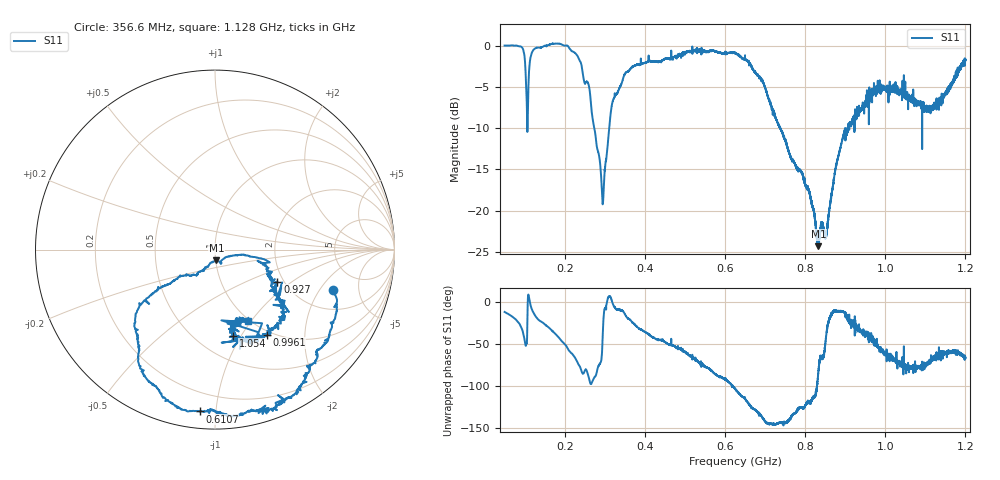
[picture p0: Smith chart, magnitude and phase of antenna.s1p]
! Calibrated high-resolution NanoVNA antenna measurement
# Hz S RI R 50
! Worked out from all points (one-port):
!   40001 points, 50 MHz to 1.2 GHz, reference 50 ohm
!   lowest |S11| = -24.3 dB at 833 MHz (marker M1), VSWR 1.13, Z = 50.4 - j6.1 ohm
!   |S11| at or under -10 dB: 273.7 MHz to 311.1 MHz (37.41 MHz wide, 12.8 % of centre); 738 MHz to 899.9 MHz (161.9 MHz wide, 19.8 % of centre); 899.9613 MHz to 904.2629 MHz (4.302 MHz wide, 0.477 % of centre)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
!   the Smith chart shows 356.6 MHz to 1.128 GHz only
!   S11 on the Smith chart (normalised r, x): 356.6 MHz: 3.06, -2.69; 610.7 MHz: 0.09, -0.91; 927 MHz: 1.85, -0.78; 996.1 MHz: 0.94, -1.30; 1.054 GHz: 0.73, -0.93; 1.128 GHz: 0.99, -0.97
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5e7  0.9822 -0.2053
8.912875e7  0.8817 -0.4571
9.8645e7  0.6708 -0.5978
1.0451e8  0.3468 -0.3981
1.121288e8  0.7684 0.023
1.231688e8  0.9234 -0.2283
1.9375e8  0.6917 -0.7424
2.363575e8  0.2057 -0.7941
2.65625e8  -0.0568 -0.4366
2.94605e8  0.0794 -0.0753
3.17835e8  0.4399 0.00804
3.375e8  0.5536 -0.0936
3.5659e8  0.6575 -0.2268
4.8125e8  0.5065 -0.7001
6.1074e8  -0.0861 -0.9017
6.25e8  -0.2031 -0.8815
6.943738e8  -0.4477 -0.4043
7.6875e8  -0.1396 -0.145
8.329775e8  0.00792 -0.0603
8.529875e8  0.057 -0.0448
8.806162e8  0.1993 -0.0377
9.125e8  0.2993 -0.1351
9.269612e8  0.3475 -0.1778
9.960762e8  0.2871 -0.4756
1.053605e9  0.1008 -0.4816
1.05625e9  0.1018 -0.4753
1.127608e9  0.1885 -0.3957
1.2e9  0.3424 -0.7516
